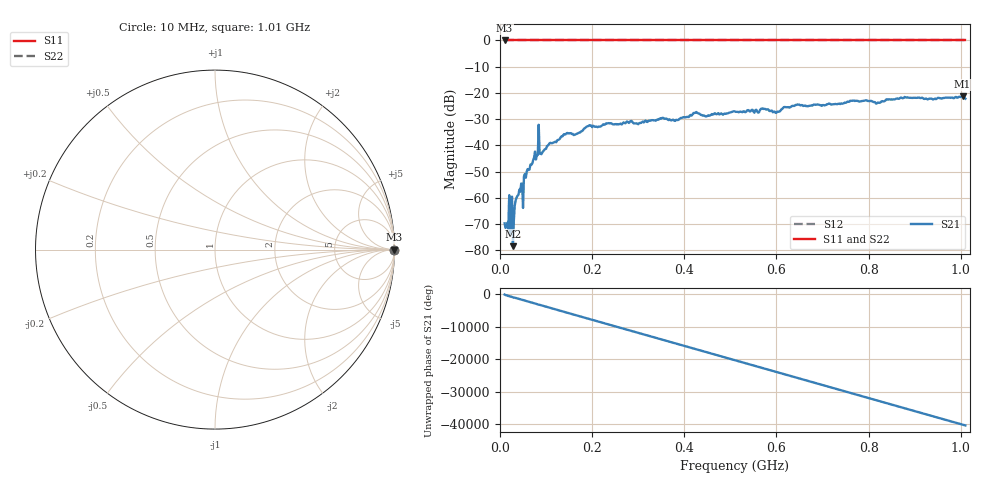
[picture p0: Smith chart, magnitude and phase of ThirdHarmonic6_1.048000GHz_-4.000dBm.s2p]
! 8/16/2025 9:12:26 AM
! C:\ANRITSUVNA\TEMP\TEMP.S2P
! CHANNEL.1
! TR.MEASUREMENT
! RAW.DATA
! RF.CORRECTION.OFF
! AVERAGING.OFF
! IF.BANDWIDTH: 5KHZ
! SWEEPTYPE:  FREQ.SWEEP(Linear)
! Reference Plane Port Info
! PORT:  PORT1  PORT2
! DISTANCE:  0  m  0  m
! TIME:  0  s  0  s
! PHASE.OFFSET:  0  deg.  0  deg.
! LOSS:  0  dB  0  dB
! REF.LOSS:  0  dB  0  dB
! REF.FREQ:  0  Hz  0  Hz
! Power Info
! POWER:  -20  dBm  -20  dBm
! EFF.POWER:  -20  dBm  -20  dBm
! SOURCE.ATTEN:  0  dB  0  dB
! TEST.ATTEN:  0  dB  0  dB
# GHZ S RI R 50.0
! FREQ.GHZ  S11RE  S11IM  S21RE  S21IM  S12RE  S12IM  S22RE  S22IM
!; PortSelection: Port_12
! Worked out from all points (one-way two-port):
!   501 points, 10 MHz to 1.01 GHz, reference 50 ohm
!   highest |S21| = -21.31 dB at 1.004 GHz (marker M1); lowest = -78.4 dB at 28 MHz (marker M2)
!   lowest |S11| = 0.0 dB at 10 MHz (marker M3)
!   |S11| at or under -10 dB: nowhere
!   |S22| runs from 0.0 to 0.0 dB; largest |S21 - S12| = 1.1
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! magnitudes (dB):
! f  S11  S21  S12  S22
! 10 MHz  0.0  -69.7  0.0  0.0
! 14 MHz  0.0  -71.0  0.0  0.0
! 22 MHz  0.0  -74.1  0.0  0.0
! 26 MHz  0.0  -59.5  0.0  0.0
! 28 MHz  0.0  -78.4  0.0  0.0
! 32 MHz  0.0  -62.9  0.0  0.0
! 38 MHz  0.0  -59.2  0.0  0.0
! 46 MHz  0.0  -54.5  0.0  0.0
! 54 MHz  0.0  -50.9  0.0  0.0
! 56 MHz  0.0  -52.3  0.0  0.0
! 78 MHz  0.0  -45.4  0.0  0.0
! 80 MHz  0.0  -43.8  0.0  0.0
! 88 MHz  0.0  -43.1  0.0  0.0
! 90 MHz  0.0  -43.4  0.0  0.0
! 142 MHz  0.0  -35.8  0.0  0.0
! 178 MHz  0.0  -34.5  0.0  0.0
! 344 MHz  0.0  -30.2  0.0  0.0
! 510 MHz  0.0  -27.1  0.0  0.0
! 678 MHz  0.0  -24.8  0.0  0.0
! 844 MHz  0.0  -22.5  0.0  0.0
! 1.004 GHz  0.0  -21.3  0.0  0.0
! 1.01 GHz  0.0  -22.2  0.0  0.0
